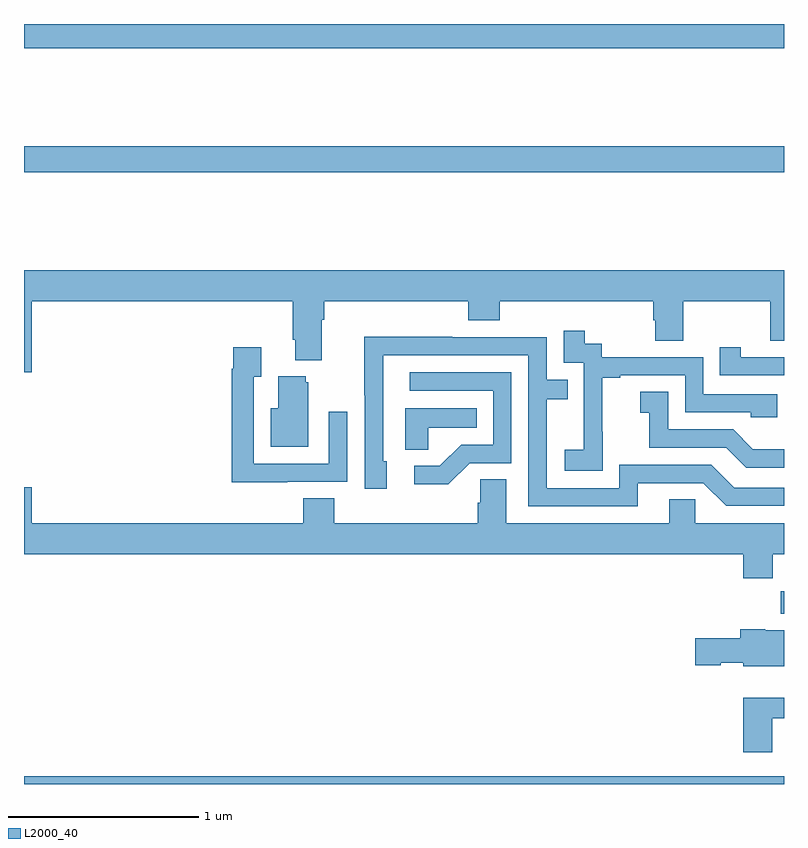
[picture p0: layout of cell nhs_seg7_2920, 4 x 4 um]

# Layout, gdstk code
import gdstk
lib = gdstk.Library(unit=1e-6, precision=1e-09)
def R(c, l, rs):  # rectangles x0, y0, x1, y1
    for r in rs: c.add(gdstk.rectangle(r[:2], r[2:], *l))
def P(c, l, *ps):  # polygons
    for p in ps: c.add(gdstk.Polygon(p, *l))
L2000_40 = (2000, 40)

nhs_seg7_2920 = lib.new_cell('nhs_seg7_2920')
R(nhs_seg7_2920, L2000_40, [(297,1074,301,1074.04), (300.982,1074.896,301,1075.015), (297,1077.22,301,1077.356), (297,1077.872,301,1078)])
P(nhs_seg7_2920, L2000_40, [(297.04,1076.54),(298.415,1076.54),(298.415,1076.338),(298.427,1076.338),(298.427,1076.231),(298.567,1076.231),(298.567,1076.444),(298.58,1076.444),(298.58,1076.54),(299.339,1076.54),(299.339,1076.441),(299.504,1076.441),(299.504,1076.54),(300.311,1076.54),(300.311,1076.442),(300.323,1076.442),(300.323,1076.332),(300.471,1076.332),(300.471,1076.54),(300.928,1076.54),(300.928,1076.332),(301,1076.332),(301,1076.704),(297,1076.704),(297,1076.166),(297.04,1076.166)],
  [(300.045,1075.855),(300.044,1075.855),(300.044,1076.139),(300.139,1076.139),(300.139,1076.151),(300.48,1076.151),(300.48,1075.956),(300.825,1075.956),(300.825,1075.929),(300.965,1075.929),(300.965,1076.052),(300.576,1076.052),(300.576,1076.247),(300.042,1076.247),(300.042,1076.316),(299.95,1076.316),(299.95,1076.386),(299.841,1076.386),(299.841,1076.217),(299.946,1076.217),(299.946,1075.988),(299.945,1075.988),(299.945,1075.759),(299.847,1075.759),(299.847,1075.649),(300.045,1075.649)],
  [(300.229,1075.584),(300.576,1075.584),(300.696,1075.464),(301,1075.464),(301,1075.56),(300.738,1075.56),(300.618,1075.68),(300.132,1075.68),(300.132,1075.557),(299.751,1075.557),(299.751,1076.026),(299.861,1076.026),(299.861,1076.127),(299.751,1076.127),(299.751,1076.352),(299.255,1076.352),(299.255,1076.354),(298.792,1076.354),(298.792,1076.047),(298.794,1076.047),(298.794,1075.554),(298.909,1075.554),(298.909,1075.698),(298.89,1075.698),(298.89,1076.256),(299.655,1076.256),(299.655,1075.461),(300.229,1075.461)],
  [(298.385,1075.59),(298.701,1075.59),(298.701,1075.96),(298.605,1075.96),(298.605,1075.686),(298.209,1075.686),(298.209,1076.143),(298.249,1076.143),(298.249,1076.299),(298.101,1076.299),(298.101,1076.186),(298.093,1076.186),(298.093,1075.589),(298.385,1075.589)],
  [(301,1076.247),(300.772,1076.247),(300.772,1076.299),(300.661,1076.299),(300.661,1076.151),(301,1076.151)],
  [(299.346,1075.689),(299.565,1075.689),(299.565,1076.166),(299.031,1076.166),(299.031,1076.07),(299.469,1076.07),(299.469,1075.785),(299.3,1075.785),(299.189,1075.674),(299.055,1075.674),(299.055,1075.577),(299.233,1075.577)],
  [(298.495,1076.115),(298.484,1076.115),(298.484,1076.146),(298.337,1076.146),(298.337,1075.978),(298.298,1075.978),(298.298,1075.775),(298.495,1075.775)],
  [(301,1075.762),(300.836,1075.762),(300.732,1075.866),(300.39,1075.866),(300.39,1076.065),(300.243,1076.065),(300.243,1075.955),(300.292,1075.955),(300.292,1075.77),(300.695,1075.77),(300.8,1075.665),(301,1075.665)],
  [(299.127,1075.874),(299.384,1075.874),(299.384,1075.978),(299.006,1075.978),(299.006,1075.759),(299.127,1075.759)],
  [(300.941,1075.208),(301,1075.208),(301,1075.372),(300.534,1075.372),(300.534,1075.499),(300.395,1075.499),(300.395,1075.372),(299.539,1075.372),(299.539,1075.604),(299.4,1075.604),(299.4,1075.481),(299.387,1075.481),(299.387,1075.372),(298.634,1075.372),(298.634,1075.505),(298.469,1075.505),(298.469,1075.372),(297.04,1075.372),(297.04,1075.561),(297,1075.561),(297,1075.208),(300.785,1075.208),(300.785,1075.084),(300.941,1075.084)],
  [(301,1074.808),(300.9,1074.808),(300.9,1074.814),(300.77,1074.814),(300.77,1074.768),(300.534,1074.768),(300.534,1074.626),(300.666,1074.626),(300.666,1074.638),(300.786,1074.638),(300.786,1074.62),(301,1074.62)],
  [(300.937,1074.345),(301,1074.345),(301,1074.454),(300.785,1074.454),(300.785,1074.168),(300.937,1074.168)])

lib.write_gds('nhs_seg7_2920.gds')
